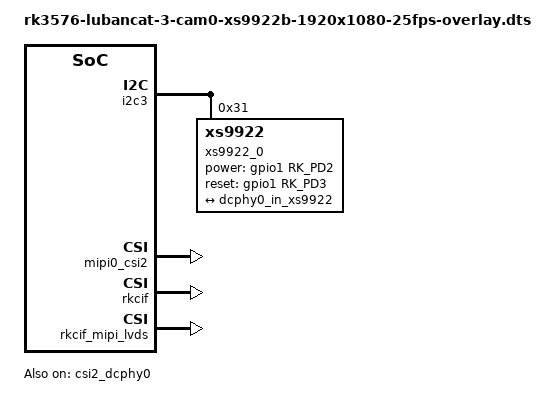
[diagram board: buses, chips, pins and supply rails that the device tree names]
// SPDX-License-Identifier: (GPL-2.0+ OR MIT)
/*
 * XS9922B 4-channel AHD-to-MIPI bridge on LubanCat-3 RK3576, CAM0 / MIPI CSI0.
 *
 * Topology (YUV422 goes straight to the CIF writer, no ISP, no VPSS):
 *
 *   xs9922 (I2C3, 4 virtual channels)
 *     -> csi2_dcphy0 port@0  (4 data lanes, the only 4-lane connector, J14)
 *     -> mipi0_csi2
 *     -> rkcif_mipi_lvds (+ rkcif_mmu)  -> /dev/video* stream_cif_mipi_id0..id3
 *
 * The node does not exist in rk3576-lubancat-3-csi.dtsi, so it is created here
 * instead of just being flipped to "okay" like the bundled sensors are.
 */
/dts-v1/;
/plugin/;

#include <dt-bindings/gpio/gpio.h>
#include <dt-bindings/pinctrl/rockchip.h>

/ {
	fragment@0 {
		target = <&i2c3>;

		__overlay__ {
			status = "okay";
			#address-cells = <1>;
			#size-cells = <0>;

			/*
			 * Board bring-up confirmed the module is strapped to
			 * 0x31 (chip id 0x9922 read OK).  Note the chip only
			 * answers full 16-bit register-address transactions, so
			 * i2cdetect/i2cget can NOT see it - verify with:
			 *   i2ctransfer -y 3 w2@0x31 0x40 0xf0 r1  # -> 0x99
			 */
			xs9922_0: xs9922-0@31 {
				compatible = "xs9922";
				status = "okay";
				reg = <0x31>;

				/*
				 * CAM_MCLK (FPC pin 21) is not connected on the
				 * CSI adapter board - the bridge runs off its own
				 * 27MHz crystal.  The driver still requires an
				 * "xvclk", so point it at the fixed-clock that
				 * already describes 27MHz in the base dtsi;
				 * clk_set_rate()/clk_get_rate() then agree with
				 * XS9922_XVCLK_FREQ and nothing is gated.
				 */
				clocks = <&ext_cam0_27m_clk>;
				clock-names = "xvclk";

				/*
				 * The adapter board needs CAM_PDN_L (FPC 20) and
				 * CAM_REST (FPC 19) held high for as long as the
				 * bridge is running, which is what the driver
				 * does: it powers up once in probe() and never
				 * powers down again (s_power is a no-op).
				 *
				 * CAM0_PWDN = GPIO1_D2, CAM0_RSTN = GPIO1_D3
				 * (carrier board schematic page 11).
				 */
				power-gpios = <&gpio1 RK_PD2 GPIO_ACTIVE_HIGH>;
				reset-gpios = <&gpio1 RK_PD3 GPIO_ACTIVE_HIGH>;

				/*
				 * All CAM0 rails (5V/3V3/1V8) are always-on fixed
				 * regulators on this board, so no *-supply here.
				 */

				rockchip,camera-module-index = <0>;
				rockchip,camera-module-facing = "back";
				rockchip,camera-module-name = "XS9922B";
				rockchip,camera-module-lens-name = "AHD-4CH";

				port {
					xs9922_out0: endpoint {
						remote-endpoint = <&dcphy0_in_xs9922>;
						data-lanes = <1 2 3 4>;
					};
				};
			};
		};
	};

	fragment@1 {
		target = <&csi2_dcphy0>;

		__overlay__ {
			status = "okay";

			ports {
				#address-cells = <1>;
				#size-cells = <0>;

				port@0 {
					reg = <0>;
					#address-cells = <1>;
					#size-cells = <0>;

					/* endpoint@1..@8 are taken by the bundled sensors */
					dcphy0_in_xs9922: endpoint@9 {
						reg = <9>;
						remote-endpoint = <&xs9922_out0>;
						data-lanes = <1 2 3 4>;
					};
				};
			};
		};
	};

	fragment@2 {
		target = <&mipi0_csi2>;

		__overlay__ {
			status = "okay";
		};
	};

	fragment@3 {
		target = <&rkcif>;

		__overlay__ {
			status = "okay";
		};
	};

	/*
	 * No "rockchip,cif-monitor" here on purpose: kernel 6.1.99 declares the
	 * property name (drivers/media/platform/rockchip/cif/dev.h) but never
	 * parses it.  rkcif_init_reset_monitor() takes the monitor parameters
	 * from CONFIG_ROCKCHIP_CIF_USE_MONITOR & friends, and
	 * lubancat_linux_rk3576_defconfig leaves those unset, so the reset
	 * watchdog is RKCIF_MONITOR_MODE_IDLE and the driver's
	 * RKMODULE_GET_VICAP_RST_INFO hook is never queried.  Turning it on
	 * means rebuilding the (built-in) rkcif driver - see docs/xs9922b_port.md.
	 */
	fragment@4 {
		target = <&rkcif_mipi_lvds>;

		__overlay__ {
			status = "okay";
		};
	};

	fragment@5 {
		target = <&rkcif_mmu>;

		__overlay__ {
			status = "okay";
		};
	};

	/*
	 * Deliberately left disabled: rkcif_mipi_lvds_sditf, rkisp*, rkvpss*.
	 * The bridge outputs UYVY8_2X8 which rkcif can write out directly, so
	 * the single ISP instance stays free for the GC4653 pipelines.
	 */
};
